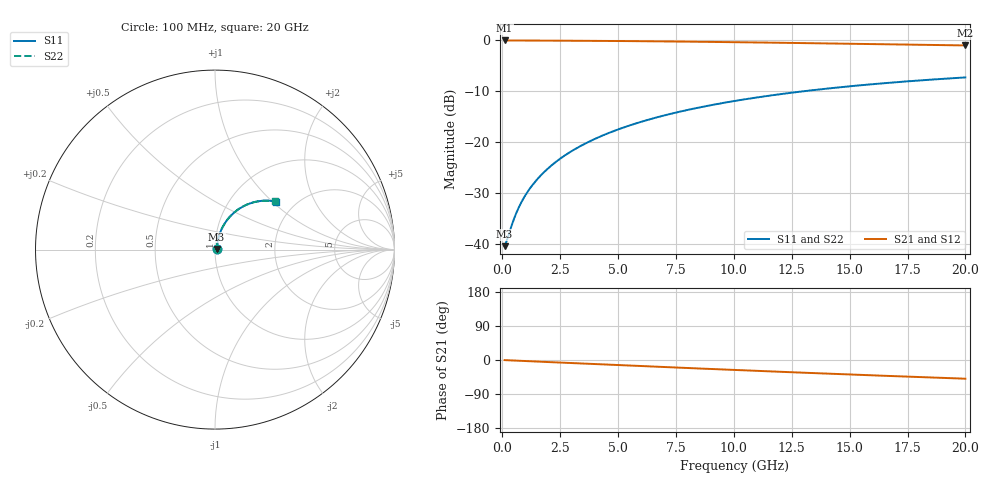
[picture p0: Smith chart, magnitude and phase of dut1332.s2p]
! Touchstone file exported from HFSS 2026.1.0
!  File:  C:/ffzhzh/LocalFiles/Ansys_Project_Files/temp_train_TMRDL_1332_1783165204_51560.aedt
!  Generated:  07:41:23 PM Jul  4, 2026
!  Design:  TMRDL
!  Project:  temp_train_TMRDL_1332_1783165204_51560
! Variables:
!  h_bsmrdl = 2um
!  h_ox = 20um
!  h_rdl = 5um
!  h_sub = 80um
!  h_tmrdl = 2.02um
!  h_tsv = 80um
!  h_via = 3um
!  l_bsmrdl = 300um
!  l_sub = 1160.83um
!  l_tmrdl = 760.83um
!  m_sub = 200um
!  pitch = 31.62um
!  r_tsv = 6um
!  s_tmrdl = 10um
!  w_bsmrdl = 18um
!  w_sub = 500um
!  w_tmrdl = 14.73um
!  x_tsv_center1 = 768.195um
!  x_tsv_center2 = 1086.195um
!  x_tsv_center3 = 1861.755um
!  x_tsv_center4 = 2179.755um
!  x_tsv_center5 = 2955.315um
!  x_tsv_center6 = 3273.315um
# GHz S MA R 50.000000
! Terminal data exported
! Port[1] = TM_RDL1_1_T1
! Port[2] = TM_RDL1_1_T2
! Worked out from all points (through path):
!   200 points, 100 MHz to 20 GHz, reference 50 ohm
!   highest |S21| = -0.08 dB at 100 MHz (marker M1); lowest = -1.1 dB at 20 GHz (marker M2)
!   group delay of S21, straight-line fit = 6.87 ps
!   lowest |S11| = -40.4 dB at 100 MHz (marker M3), VSWR 1.02, Z = 50.9 + j0.301 ohm
!   |S11| at or under -10 dB: start of sweep to 13.06 GHz
!   |S22| runs from -40.4 to -7.3 dB; largest |S21 - S12| = 1.3e-14
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0.1  0.009583 18.0  0.9909 -0.3  0.9909 -0.3  0.009583 18.0
! Gamma 0 0 0 0
! Port Impedance 50 0 50 0
0.2  0.01097 32.5  0.9908 -0.6  0.9908 -0.6  0.01097 32.5
0.4  0.01518 50.0  0.9904 -1.1  0.9904 -1.1  0.01518 50.0
0.5  0.0176 55.1  0.9902 -1.4  0.9902 -1.4  0.0176 55.1
0.7  0.02263 61.5  0.9897 -2.0  0.9897 -2.0  0.02263 61.5
0.8  0.02517 63.6  0.9894 -2.2  0.9894 -2.2  0.02517 63.6
1  0.03027 66.7  0.989 -2.8  0.989 -2.8  0.03027 66.7
1.3  0.03794 69.6  0.9883 -3.6  0.9883 -3.6  0.03794 69.6
1.7  0.04821 71.7  0.9876 -4.6  0.9876 -4.6  0.04821 71.7
2.2  0.06112 73.1  0.9866 -6.0  0.9866 -6.0  0.06112 73.1
2.8  0.07667 73.5  0.9853 -7.6  0.9853 -7.6  0.07667 73.5
3.5  0.0948 73.3  0.9835 -9.4  0.9835 -9.4  0.09479 73.3
4.2  0.1128 72.5  0.9814 -11.3  0.9814 -11.3  0.1128 72.5
5  0.1332 71.2  0.9787 -13.4  0.9787 -13.4  0.1332 71.3
5.9  0.1559 69.6  0.9751 -15.7  0.9751 -15.7  0.1559 69.6
6.8  0.178 67.7  0.9711 -18.1  0.9711 -18.1  0.178 67.8
8.3  0.2139 64.5  0.9634 -21.9  0.9634 -21.9  0.2139 64.5
10.1  0.2547 60.4  0.953 -26.4  0.953 -26.4  0.2547 60.4
11.7  0.2889 56.7  0.9428 -30.4  0.9428 -30.4  0.2889 56.8
13.4  0.3228 52.8  0.9313 -34.5  0.9313 -34.5  0.3228 52.9
16.7  0.3814 45.5  0.9083 -42.1  0.9083 -42.1  0.3814 45.6
20  0.4306 38.5  0.8857 -49.3  0.8857 -49.3  0.4306 38.5
